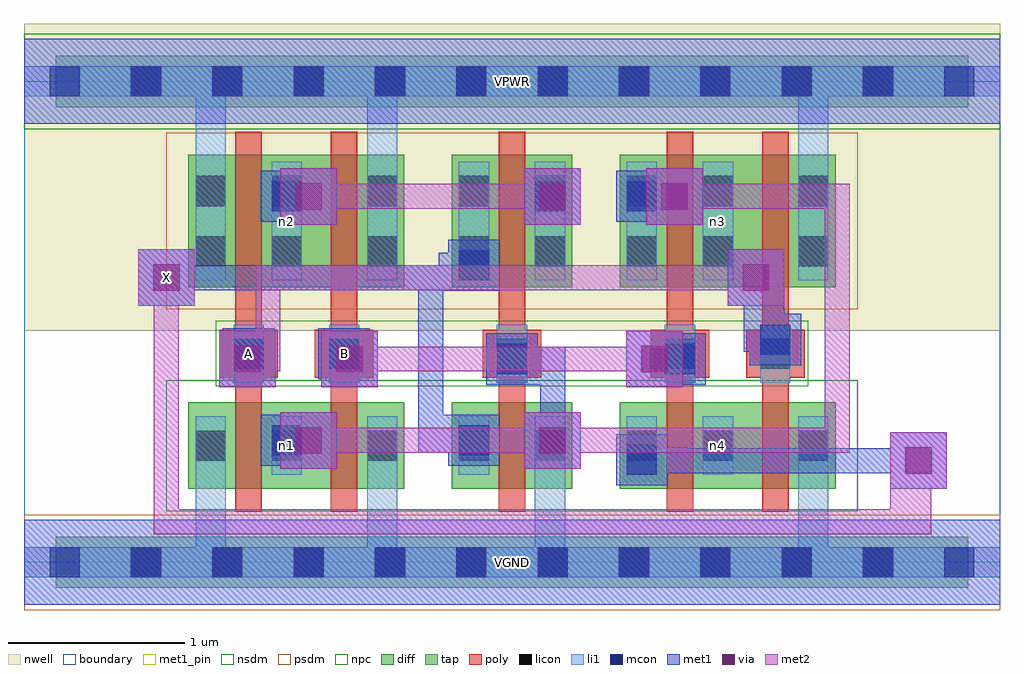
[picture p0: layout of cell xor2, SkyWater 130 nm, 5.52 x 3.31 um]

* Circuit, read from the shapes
.subckt xor2 A B VGND VPWR X n1 n2 n3 n4
XM1 n1 A VGND VGND sky130_fd_pr__nfet_01v8 w=0.49 l=0.15
XM2 VGND B n1 VGND sky130_fd_pr__nfet_01v8 w=0.49 l=0.15
XM3 VGND n1 X VGND sky130_fd_pr__nfet_01v8 w=0.49 l=0.15
XM4 n4 B X VGND sky130_fd_pr__nfet_01v8 w=0.49 l=0.15
XM5 VGND A n4 VGND sky130_fd_pr__nfet_01v8 w=0.49 l=0.15
XM6 n2 A VPWR VPWR sky130_fd_pr__pfet_01v8 w=0.75 l=0.15
XM7 VPWR B n2 VPWR sky130_fd_pr__pfet_01v8 w=0.75 l=0.15
XM8 n2 n1 X VPWR sky130_fd_pr__pfet_01v8 w=0.75 l=0.15
XM9 n3 B n1 VPWR sky130_fd_pr__pfet_01v8 w=0.75 l=0.15
XM10 VPWR A n3 VPWR sky130_fd_pr__pfet_01v8 w=0.75 l=0.15
.ends

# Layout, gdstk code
import gdstk
lib = gdstk.Library(unit=1e-6, precision=1e-09)
def R(c, l, rs):  # rectangles x0, y0, x1, y1
    for r in rs: c.add(gdstk.rectangle(r[:2], r[2:], *l))
def A(c, l, x, y, w, h, nx, ny, dx, dy):  # array of equal rectangles
    R(c, l, [(x+i*dx, y+j*dy, x+i*dx+w, y+j*dy+h) for i in range(nx) for j in range(ny)])
nwell = (64, 20)
diff = (65, 20)
tap = (65, 44)
poly = (66, 20)
licon = (66, 44)
li1 = (67, 20)
mcon = (67, 44)
met1_pin = (68, 16)
met1 = (68, 20)
via = (68, 44)
met2 = (69, 20)
nsdm = (93, 44)
psdm = (94, 20)
npc = (95, 20)
boundary = (235, 4)

xor2 = lib.new_cell('xor2')
R(xor2, nwell, [(0,1.31,5.52,3.045)])
R(xor2, diff, [(0.93,0.415,2.15,0.905), (2.42,0.415,3.1,0.905), (3.37,0.415,4.59,0.905), (0.93,1.555,2.15,2.305), (2.42,1.555,3.1,2.305), (3.37,1.555,4.59,2.305)])
R(xor2, tap, [(0.18,-0.145,5.34,0.145), (0.18,2.575,5.34,2.865)])
A(xor2, poly, 1.735, 0.285, 0.15, 2.15, 3, 1, 0.95, 0)
A(xor2, poly, 1.645, 1.045, 0.33, 0.27, 3, 1, 0.95, 0)
R(xor2, poly, [(1.195,0.285,1.345,2.435), (4.175,0.285,4.325,2.435), (1.105,1.045,1.435,1.315), (4.085,1.045,4.415,1.315)])
A(xor2, licon, 0.605, -0.085, 0.17, 0.17, 10, 2, 0.46, 2.72)
A(xor2, licon, 1.725, 1.095, 0.17, 0.17, 3, 1, 0.95, 0)
R(xor2, licon, [(0.97,0.575,1.14,0.745), (1.4,0.575,1.57,0.745), (1.94,0.575,2.11,0.745), (2.46,0.575,2.63,0.745), (2.89,0.575,3.06,0.745), (3.41,0.575,3.58,0.745), (3.84,0.575,4.01,0.745), (4.38,0.575,4.55,0.745), (1.185,1.095,1.355,1.265), (4.165,1.095,4.335,1.265), (0.97,1.675,1.14,1.845), (1.4,1.675,1.57,1.845), (1.94,1.675,2.11,1.845), (2.46,1.675,2.63,1.845), (2.89,1.675,3.06,1.845), (3.41,1.675,3.58,1.845), (3.84,1.675,4.01,1.845), (4.38,1.675,4.55,1.845), (0.97,2.015,1.14,2.185), (1.4,2.015,1.57,2.185), (1.94,2.015,2.11,2.185), (2.46,2.015,2.63,2.185), (2.89,2.015,3.06,2.185), (3.41,2.015,3.58,2.185), (3.84,2.015,4.01,2.185), (4.38,2.015,4.55,2.185)])
A(xor2, li1, 1.725, 1.015, 0.17, 0.33, 3, 1, 0.95, 0)
R(xor2, li1, [(0,-0.085,5.52,0.085), (0.97,-0.085,1.14,0.825), (1.94,-0.085,2.11,0.825), (2.89,-0.085,3.06,0.825), (4.38,-0.085,4.55,0.825), (0.97,0.495,1.14,0.825), (1.4,0.495,1.57,0.825), (1.94,0.495,2.11,0.825), (2.46,0.495,2.63,0.825), (2.89,0.495,3.06,0.825), (3.41,0.495,3.58,0.825), (3.84,0.495,4.01,0.825), (4.38,0.495,4.55,0.825), (1.185,1.015,1.355,1.345), (4.165,1.015,4.335,1.345), (0.97,1.595,1.14,2.265), (0.97,1.595,1.14,2.805), (1.4,1.595,1.57,2.265), (1.94,1.595,2.11,2.265), (1.94,1.595,2.11,2.805), (2.46,1.595,2.63,2.265), (2.89,1.595,3.06,2.265), (3.41,1.595,3.58,2.265), (3.84,1.595,4.01,2.265), (4.38,1.595,4.55,2.265), (4.38,1.595,4.55,2.805), (0,2.635,5.52,2.805)])
A(xor2, mcon, 0.145, -0.085, 0.17, 0.17, 12, 2, 0.46, 2.72)
R(xor2, mcon, [(3.41,0.495,3.58,0.665), (1.4,0.605,1.57,0.775), (2.46,0.605,2.63,0.775), (2.675,1.065,2.845,1.235), (3.625,1.065,3.795,1.235), (1.185,1.095,1.355,1.265), (1.725,1.095,1.895,1.265), (4.165,1.175,4.335,1.345), (2.46,1.595,2.63,1.765), (1.4,1.985,1.57,2.155), (2.89,1.985,3.06,2.155), (3.41,1.985,3.58,2.155)])
R(xor2, met1_pin, [(0,-0.24,5.52,0.24), (1.125,1.035,1.415,1.325), (1.665,1.035,1.955,1.325), (0.645,1.45,0.965,1.77), (0,2.48,5.52,2.96)])
R(xor2, met1, [(0,-0.24,5.52,0.24), (4.9,0.415,5.22,0.735), (3.35,0.435,3.64,0.725), (3.61,0.505,3.75,0.65), (3.61,0.505,5.13,0.645), (3.425,0.51,3.75,0.65), (1.45,0.53,1.77,0.85), (2.83,0.53,3.15,0.85), (1.34,0.545,1.63,0.835), (2.4,0.545,2.69,0.835), (1.415,0.62,1.68,0.76), (2.23,0.62,2.485,0.76), (2.23,0.62,2.37,1.68), (2.345,0.62,2.615,0.76), (2.37,0.62,2.4,0.835), (2.92,0.62,3.06,1.22), (1.105,0.99,1.425,1.31), (1.68,0.99,2,1.31), (3.405,0.99,3.725,1.31), (2.615,1.005,2.905,1.295), (2.905,1.005,2.92,1.22), (3.565,1.005,3.855,1.295), (1.125,1.035,1.415,1.325), (1.665,1.035,1.955,1.325), (1.195,1.08,1.335,1.22), (1.77,1.08,1.91,1.22), (2.69,1.08,3.06,1.22), (3.495,1.08,3.78,1.22), (4.105,1.115,4.395,1.405), (4.07,1.19,4.32,1.33), (4.07,1.19,4.21,1.45), (4.07,1.31,4.21,1.68), (4.07,1.33,4.3,1.45), (4.105,1.405,4.3,1.45), (0.645,1.45,0.965,1.77), (3.98,1.45,4.3,1.77), (2.37,1.535,2.4,1.68), (2.4,1.535,2.69,1.825), (0.735,1.54,2.37,1.68), (2.23,1.54,2.485,1.68), (2.345,1.54,2.485,1.75), (2.345,1.61,2.615,1.75), (1.45,1.91,1.77,2.23), (2.83,1.91,3.15,2.23), (3.52,1.91,3.84,2.23), (1.34,1.925,1.63,2.215), (2.83,1.925,3.12,2.215), (3.35,1.925,3.64,2.215), (1.415,2,1.68,2.14), (2.905,2,3.06,2.14), (3.425,2,3.75,2.14), (0,2.48,5.52,2.96)])
R(xor2, via, [(4.985,0.5,5.135,0.65), (1.535,0.615,1.685,0.765), (2.915,0.615,3.065,0.765), (1.19,1.075,1.34,1.225), (1.765,1.075,1.915,1.225), (3.49,1.075,3.64,1.225), (0.73,1.535,0.88,1.685), (4.065,1.535,4.215,1.685), (1.535,1.995,1.685,2.145), (2.915,1.995,3.065,2.145), (3.605,1.995,3.755,2.145)])
R(xor2, met2, [(0.735,0.16,0.875,1.68), (0.735,0.16,5.13,0.3), (4.99,0.16,5.13,0.645), (4.9,0.3,5.13,0.415), (4.9,0.415,5.22,0.735), (1.45,0.53,1.77,0.85), (2.83,0.53,3.15,0.85), (1.54,0.62,3.06,0.76), (2.92,0.62,4.67,0.76), (4.53,0.62,4.67,2.14), (1.105,0.99,1.425,1.31), (1.68,0.99,2,1.31), (3.405,0.99,3.725,1.31), (1.195,1.08,1.45,1.22), (1.31,1.08,1.45,1.68), (1.77,1.08,3.635,1.22), (0.645,1.45,0.965,1.77), (3.98,1.45,4.3,1.77), (1.31,1.54,4.21,1.68), (1.45,1.91,1.77,2.23), (2.83,1.91,3.15,2.23), (3.52,1.91,3.84,2.23), (1.54,2,3.06,2.14), (3.61,2,4.67,2.14)])
R(xor2, nsdm, [(0.805,0.29,4.715,1.03), (0,2.45,5.52,2.99)])
R(xor2, psdm, [(0,-0.27,5.52,0.27), (0.805,1.43,4.715,2.43)])
R(xor2, npc, [(1.085,0.995,4.435,1.365)])
R(xor2, boundary, [(0,0,5.52,2.72)])
xor2.add(gdstk.Label('n1', (1.485,0.66), layer=67, texttype=5))
xor2.add(gdstk.Label('n4', (3.925,0.66), layer=67, texttype=5))
xor2.add(gdstk.Label('n2', (1.485,1.93), layer=67, texttype=5))
xor2.add(gdstk.Label('n3', (3.925,1.93), layer=67, texttype=5))
xor2.add(gdstk.Label('A', (1.27,1.18), layer=68, texttype=5))
xor2.add(gdstk.Label('B', (1.81,1.18), layer=68, texttype=5))
xor2.add(gdstk.Label('X', (0.805,1.61), layer=68, texttype=5))
xor2.add(gdstk.Label('VPWR', (2.76,2.72), layer=68, texttype=5))
xor2.add(gdstk.Label('VGND', (2.76,0), layer=68, texttype=5))
xor2.add(gdstk.Label('A', (1.27,1.18), layer=68, texttype=16))
xor2.add(gdstk.Label('B', (1.81,1.18), layer=68, texttype=16))
xor2.add(gdstk.Label('X', (0.805,1.61), layer=68, texttype=16))
xor2.add(gdstk.Label('VPWR', (2.76,2.72), layer=68, texttype=16))
xor2.add(gdstk.Label('VGND', (2.76,0), layer=68, texttype=16))

lib.write_gds('xor2.gds')
